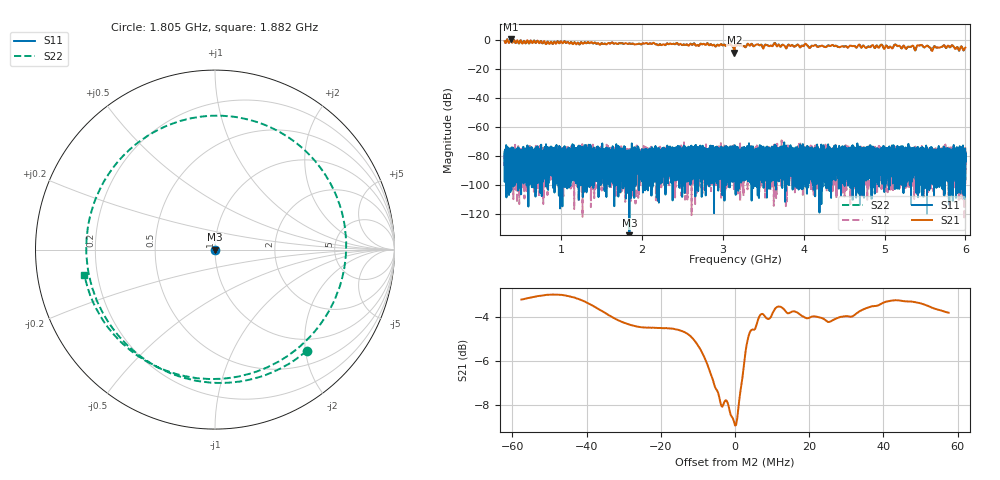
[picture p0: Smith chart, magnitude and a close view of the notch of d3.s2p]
!Agilent Technologies,N5230C,SG49000117,A.08.50.07
!Agilent N5230C: A.08.50.07
!Date: Monday, March 18, 2024 19:12:56
!Correction: S11(Off)
!S21(Off)
!S12(Off)
!S22(Off)
!S2P File: Measurements: S11, S21, S12, S22:
# Hz S  RI  R 50
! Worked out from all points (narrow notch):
!   20001 points, 300 MHz to 6 GHz, reference 50 ohm
!   highest |S21| = 0.45 dB at 373.8 MHz (marker M1); lowest = -8.9 dB at 3.142 GHz (marker M2)
!   notch at M2: 5.4 dB deep, 9.62 MHz wide at half that depth
!   lowest |S11| = -135.3 dB at 1.843 GHz (marker M3), VSWR 1.00, Z = 50 - j1.44e-05 ohm
!   |S11| at or under -10 dB: start of sweep to end of sweep
!   |S22| runs from -8.9 to 0.5 dB; largest |S21 - S12| = 1.1
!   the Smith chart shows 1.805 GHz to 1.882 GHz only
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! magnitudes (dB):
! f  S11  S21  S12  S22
! 300 MHz  -77.1  -1.0  -76.8  -0.9
! 373.8 MHz  -83.7  0.4  -92.1  0.5
! 1.25 GHz  -86.5  -1.7  -86.4  -1.7
! 1.843 GHz  -135.3  -2.5  -82.7  -2.5
! 2.2 GHz  -88.4  -3.7  -83.5  -3.7
! 3.078 GHz  -85.7  -3.5  -80.4  -3.4
! 3.142 GHz  -82.2  -8.9  -83.3  -8.9
! 3.15 GHz  -79.0  -4.0  -78.5  -4.0
! 3.331 GHz  -89.4  -4.1  -89.9  -4.1
! 3.487 GHz  -82.2  -4.6  -82.2  -4.5
! 3.638 GHz  -81.9  -2.3  -82.7  -2.2
! 3.776 GHz  -85.3  -5.4  -82.7  -5.4
! 4.022 GHz  -101.3  -2.7  -80.5  -2.6
! 4.1 GHz  -87.3  -4.1  -83.9  -4.0
! 5.05 GHz  -85.9  -5.7  -78.6  -5.6
! 5.143 GHz  -98.1  -3.6  -81.4  -3.6
! 5.379 GHz  -88.2  -7.3  -89.9  -7.3
! 5.437 GHz  -83.5  -3.8  -83.4  -3.9
! 5.539 GHz  -82.9  -4.4  -82.9  -4.4
! 5.577 GHz  -91.5  -6.7  -81.7  -6.7
! 5.723 GHz  -83.3  -4.3  -93.5  -4.3
! 6 GHz  -79.7  -5.4  -99.4  -5.4
